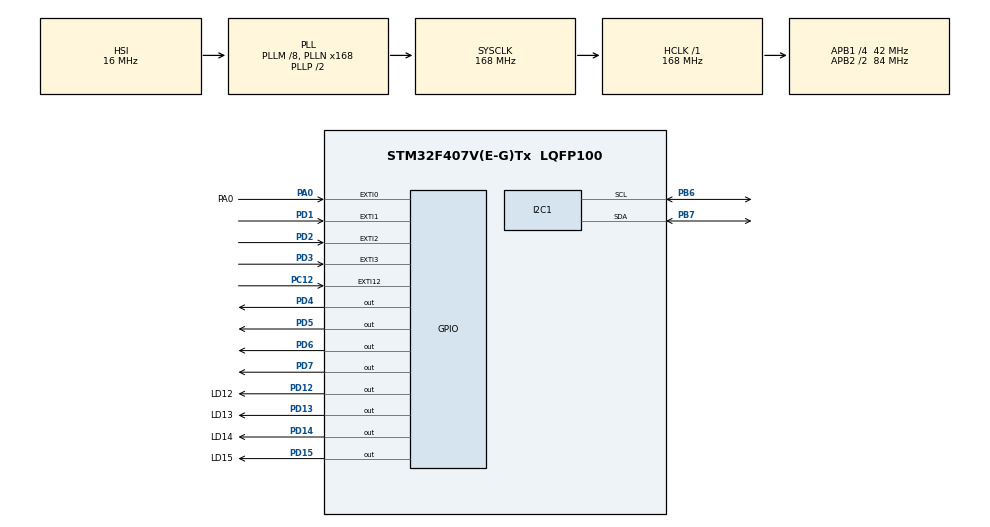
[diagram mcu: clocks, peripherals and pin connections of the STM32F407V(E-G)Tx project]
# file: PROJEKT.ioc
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I2C1.I2C_Mode=I2C_Standard
Mcu.Family=STM32F4
Mcu.Name=STM32F407V(E-G)Tx
Mcu.Package=LQFP100
NVIC.EXTI0_IRQn=true\:0\:0\:false\:false\:true\:true\:true
NVIC.EXTI15_10_IRQn=true\:0\:0\:false\:false\:true\:true\:true
NVIC.EXTI1_IRQn=true\:0\:0\:false\:false\:true\:true\:true
NVIC.EXTI2_IRQn=true\:0\:0\:false\:false\:true\:true\:true
NVIC.EXTI3_IRQn=true\:0\:0\:false\:false\:true\:true\:true
NVIC.PriorityGroup=NVIC_PRIORITYGROUP_4
NVIC.RTC_Alarm_IRQn=true\:0\:0\:false\:false\:true\:true\:true
NVIC.TIM1_UP_TIM10_IRQn=true\:0\:0\:false\:false\:true\:true\:true
PA0-WKUP.GPIO_Label=PA0
PA0-WKUP.Signal=GPXTI0
PB6.Mode=I2C
PB6.Signal=I2C1_SCL
PB7.Mode=I2C
PB7.Signal=I2C1_SDA
PC12.GPIO_PuPd=GPIO_PULLUP
PC12.Signal=GPXTI12
PC14-OSC32_IN.Mode=LSE-External-Oscillator
PC14-OSC32_IN.Signal=RCC_OSC32_IN
PC15-OSC32_OUT.Mode=LSE-External-Oscillator
PC15-OSC32_OUT.Signal=RCC_OSC32_OUT
PD1.GPIO_PuPd=GPIO_PULLUP
PD1.Signal=GPXTI1
PD12.GPIO_Label=LD12
PD12.Signal=GPIO_Output
PD13.GPIO_Label=LD13
PD13.Signal=GPIO_Output
PD14.GPIO_Label=LD14
PD14.Signal=GPIO_Output
PD15.GPIO_Label=LD15
PD15.Signal=GPIO_Output
PD2.GPIO_PuPd=GPIO_PULLUP
PD2.Signal=GPXTI2
PD3.GPIO_PuPd=GPIO_PULLUP
PD3.Signal=GPXTI3
PD4.Signal=GPIO_Output
PD5.Signal=GPIO_Output
PD6.Signal=GPIO_Output
PD7.Signal=GPIO_Output
PH0-OSC_IN.Mode=HSE-External-Oscillator
PH0-OSC_IN.Signal=RCC_OSC_IN
PH1-OSC_OUT.Mode=HSE-External-Oscillator
PH1-OSC_OUT.Signal=RCC_OSC_OUT
ProjectManager.HeapSize=0x200
ProjectManager.StackSize=0x400
ProjectManager.TargetToolchain=STM32CubeIDE
RCC.48MHZClocksFreq_Value=84000000
RCC.AHBFreq_Value=168000000
RCC.APB1CLKDivider=RCC_HCLK_DIV4
RCC.APB1Freq_Value=42000000
RCC.APB1TimFreq_Value=84000000
RCC.APB2CLKDivider=RCC_HCLK_DIV2
RCC.APB2Freq_Value=84000000
RCC.APB2TimFreq_Value=168000000
RCC.CortexFreq_Value=168000000
RCC.HCLKFreq_Value=168000000
RCC.HSE_VALUE=8000000
RCC.HSI_VALUE=16000000
RCC.PLLM=8
RCC.PLLN=168
RCC.SYSCLKFreq_VALUE=168000000
RCC.SYSCLKSource=RCC_SYSCLKSOURCE_PLLCLK
RCC.VCOOutputFreq_Value=336000000
RTC.Alarm=RTC_ALARM_A
RTC.Format=RTC_FORMAT_BIN
RTC.Minutes=50
TIM1.AutoReloadPreload=TIM_AUTORELOAD_PRELOAD_ENABLE
TIM1.Period=999
TIM1.Prescaler=3359
TIM1.RepetitionCounter=1
VP_RTC_VS_RTC_Activate.Mode=RTC_Enabled
VP_RTC_VS_RTC_Alarm_A_Intern.Mode=Alarm A
VP_RTC_VS_RTC_Calendar.Mode=RTC_Calendar
VP_TIM1_VS_ClockSourceINT.Mode=Internal
board=custom

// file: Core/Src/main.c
/* USER CODE END Header */
#include "main.h"
#include "i2c.h"
#include "rtc.h"
#include "tim.h"
#include "gpio.h"

/* USER CODE BEGIN Includes */
#include "lcd1602.h"
#include <stdio.h>
#include <stdbool.h>

/* USER CODE END Includes */

/* USER CODE BEGIN PTD */
RTC_TimeTypeDef sTime;
RTC_DateTypeDef sDate;

struct time clock, alarm, d;
struct lcd_disp disp;

uint8_t refresh_lcd = 1;
uint8_t counter = 0;
uint8_t alarm_start = 1;
bool state = true;

/* USER CODE END PTD */

void SystemClock_Config(void);

/* USER CODE BEGIN 0 */
void set_clock(uint8_t hour, uint8_t minute, uint8_t second, uint8_t day, uint8_t month, uint8_t year){
	RTC_TimeTypeDef sTime = {0};
	RTC_DateTypeDef DateToUpdate = {0};
	sTime.Hours = hour;
	sTime.Minutes = minute;
	sTime.Seconds = second;
	sTime.DayLightSaving = RTC_DAYLIGHTSAVING_NONE;
	sTime.StoreOperation = RTC_STOREOPERATION_RESET;

	if (HAL_RTC_SetTime(&hrtc, &sTime, RTC_FORMAT_BIN) != HAL_OK)
	{
		Error_Handler();
	}

	DateToUpdate.WeekDay = RTC_WEEKDAY_SATURDAY;
	if (month == 1){
		DateToUpdate.Month = RTC_MONTH_JANUARY;
	}
	else if (month == 2){
		DateToUpdate.Month = RTC_MONTH_FEBRUARY;
	}
	else if (month == 3){
		DateToUpdate.Month = RTC_MONTH_MARCH;
	}
	else if (month == 4){
		DateToUpdate.Month = RTC_MONTH_APRIL;
	}
	else if (month == 5){
		DateToUpdate.Month = RTC_MONTH_MAY;
	}
	else if (month == 6){
		DateToUpdate.Month = RTC_MONTH_JUNE;
	}
	else if (month == 7){
		DateToUpdate.Month = RTC_MONTH_JULY;
	}
	else if (month == 8){
		DateToUpdate.Month = RTC_MONTH_AUGUST;
	}
	else if (month == 9){
		DateToUpdate.Month = RTC_MONTH_SEPTEMBER;
	}
	else if (month == 10){
		DateToUpdate.Month = RTC_MONTH_OCTOBER;
	}
	else if (month == 11){
		DateToUpdate.Month = RTC_MONTH_NOVEMBER;
	}
	else if (month == 12){
		DateToUpdate.Month = RTC_MONTH_DECEMBER;
	}

	if (day == 1 || day == 8 || day == 15 || day == 22 || day == 29){

		DateToUpdate.WeekDay = RTC_WEEKDAY_MONDAY;
	}
	else if (day == 2 || day == 9 || day == 16 || day == 23 || day == 30){
		DateToUpdate.WeekDay = RTC_WEEKDAY_TUESDAY;
	}
	else if (day == 3 || day == 10 || day == 17 || day == 24){
		DateToUpdate.WeekDay = RTC_WEEKDAY_WEDNESDAY;
	}
	else if (day == 4 || day == 11 || day == 18 || day == 25){
		DateToUpdate.WeekDay = RTC_WEEKDAY_THURSDAY;
	}
	else if (day == 5 || day == 12 || day == 19 || day == 26){
		DateToUpdate.WeekDay = RTC_WEEKDAY_FRIDAY;
	}
	else if (day == 6 || day == 13 || day == 20 || day == 27){
		DateToUpdate.WeekDay = RTC_WEEKDAY_SATURDAY;
	}
	else if (day == 7 || day == 14 || day == 21 || day == 28){
		DateToUpdate.WeekDay = RTC_WEEKDAY_SUNDAY;
	}

	DateToUpdate.Date = day;
	DateToUpdate.Year = year;

	if (HAL_RTC_SetDate(&hrtc, &DateToUpdate, RTC_FORMAT_BIN) != HAL_OK)
	{
		Error_Handler();
	}

}
void set_alarm(uint8_t hour, uint8_t minute, uint8_t second, uint8_t day){
	RTC_AlarmTypeDef sAlarm = {0};

	sAlarm.AlarmTime.Hours = hour;
	sAlarm.AlarmTime.Minutes = minute;
	sAlarm.AlarmTime.Seconds = second;
	sAlarm.AlarmTime.SubSeconds = 0;
	sAlarm.AlarmTime.DayLightSaving = RTC_DAYLIGHTSAVING_NONE;
	sAlarm.AlarmTime.StoreOperation = RTC_STOREOPERATION_RESET;
	sAlarm.AlarmMask = RTC_ALARMMASK_NONE;
	sAlarm.AlarmSubSecondMask = RTC_ALARMSUBSECONDMASK_ALL;
	sAlarm.AlarmDateWeekDaySel = RTC_ALARMDATEWEEKDAYSEL_DATE;
	sAlarm.AlarmDateWeekDay = day;
	sAlarm.Alarm = RTC_ALARM_A;
	if (HAL_RTC_SetAlarm_IT(&hrtc, &sAlarm, RTC_FORMAT_BIN) != HAL_OK)
	{
		Error_Handler();
	}

}
void get_time(void){
	RTC_TimeTypeDef sTime = {0};
	RTC_DateTypeDef sDate = {0};

	HAL_RTC_GetTime(&hrtc, &sTime, RTC_FORMAT_BIN);
	HAL_RTC_GetDate(&hrtc, &sDate, RTC_FORMAT_BIN);

	sprintf((char*)disp.f_line, "%02d:%02d:%02d", sTime.Hours, sTime.Minutes, sTime.Seconds);
	sprintf((char*)disp.s_line, "%02d:%02d:%d", sDate.Date, sDate.Month, 2020 + sDate.Year);
}
/* USER CODE END 0 */

int main(void)
{

  /* MCU Configuration--------------------------------------------------------*/

  /* Reset of all peripherals, Initializes the Flash interface and the Systick. */
  HAL_Init();

  /* Configure the system clock */
  SystemClock_Config();

  /* Initialize all configured peripherals */
  MX_GPIO_Init();
  MX_RTC_Init();
  MX_TIM1_Init();
  MX_I2C1_Init();
  /* USER CODE BEGIN 2 */
  lcd_init(&disp);
  lcd_clear(&disp);
  disp.addr = (0x27 << 1);
  disp.bl = true;
  HAL_GPIO_WritePin (R1_PORT, R1_PIN, GPIO_PIN_SET);  //Pull the R1 low
  HAL_GPIO_WritePin (R2_PORT, R2_PIN, GPIO_PIN_SET);  // Pull the R2 High
  HAL_GPIO_WritePin (R3_PORT, R3_PIN, GPIO_PIN_SET);  // Pull the R3 High
  HAL_GPIO_WritePin (R4_PORT, R4_PIN, GPIO_PIN_RESET);  // Pull the R4 High
  clock.days = 1;
  clock.months = 1;
  /* USER CODE END 2 */

  /* Infinite loop */

    /* USER CODE BEGIN 3 */
  while (counter < 2){
	  if (refresh_lcd == 1){
		  sprintf((char*)disp.f_line, "%02d:%02d:%02d Godzina", clock.hours, clock.minutes, clock.seconds);
		  sprintf((char*)disp.s_line, "%02d-%02d-%d  Data", clock.days, clock.months, 2020 + clock.years);
		  lcd_display(&disp);
		  refresh_lcd = 0;
	  }
  }

  while (counter < 4){
	  if (refresh_lcd == 1){
		  alarm.hours = clock.hours + d.hours;
		  alarm.minutes = clock.minutes + d.minutes;
		  alarm.seconds = clock.seconds + d.seconds;
		  alarm.days = clock.days + d.days;
		  alarm.months = clock.months + d.months;
		  alarm.years = clock.years + d.years;
		  sprintf((char*)disp.f_line, "%02d:%02d:%02d   Ustaw", alarm.hours, alarm.minutes, alarm.seconds);
		  sprintf((char*)disp.s_line, "%02d-%02d-%d alarm", alarm.days, alarm.months, 2020 + alarm.years);
		  lcd_display(&disp);
		  refresh_lcd = 0;
	  }
  }
  set_clock(clock.hours, clock.minutes, clock.seconds, clock.days, clock.months, clock.years);
  set_alarm(alarm.hours, alarm.minutes, alarm.seconds, alarm.days);
  while(1){
	  switch (alarm_start){
	  case 1:
		  get_time();
		  lcd_display(&disp);
		  HAL_Delay(950);
		  break;
	  case 0:
		  sprintf((char*)disp.f_line, ALERT_1);
		  sprintf((char*)disp.s_line, ALERT_2);
		  lcd_display(&disp);
		  HAL_Delay(500);
		  lcd_clear(&disp);
		  HAL_Delay(500);
		  HAL_GPIO_TogglePin(LD12_GPIO_Port, LD12_Pin);
		  HAL_GPIO_TogglePin(LD13_GPIO_Port, LD13_Pin);
		  HAL_GPIO_TogglePin(LD14_GPIO_Port, LD14_Pin);
		  HAL_GPIO_TogglePin(LD15_GPIO_Port, LD15_Pin);

		  lcd_clear(&disp);
		  if (alarm_start == 1){
			  HAL_GPIO_WritePin(LD12_GPIO_Port, LD12_Pin, 0);
			  HAL_GPIO_WritePin(LD13_GPIO_Port, LD13_Pin, 0);
			  HAL_GPIO_WritePin(LD14_GPIO_Port, LD14_Pin, 0);
			  HAL_GPIO_WritePin(LD15_GPIO_Port, LD15_Pin, 0);
		  break;
		  }
	  }
  }
  /* USER CODE END 3 */
}

void SystemClock_Config(void)
{
  RCC_OscInitTypeDef RCC_OscInitStruct = {0};
  RCC_ClkInitTypeDef RCC_ClkInitStruct = {0};
  RCC_PeriphCLKInitTypeDef PeriphClkInitStruct = {0};

  /** Configure the main internal regulator output voltage
  */
  __HAL_RCC_PWR_CLK_ENABLE();
  __HAL_PWR_VOLTAGESCALING_CONFIG(PWR_REGULATOR_VOLTAGE_SCALE1);
  /** Initializes the RCC Oscillators according to the specified parameters
  * in the RCC_OscInitTypeDef structure.
  */
  RCC_OscInitStruct.OscillatorType = RCC_OSCILLATORTYPE_HSI|RCC_OSCILLATORTYPE_LSI;
  RCC_OscInitStruct.HSIState = RCC_HSI_ON;
  RCC_OscInitStruct.HSICalibrationValue = RCC_HSICALIBRATION_DEFAULT;
  RCC_OscInitStruct.LSIState = RCC_LSI_ON;
  RCC_OscInitStruct.PLL.PLLState = RCC_PLL_ON;
  RCC_OscInitStruct.PLL.PLLSource = RCC_PLLSOURCE_HSI;
  RCC_OscInitStruct.PLL.PLLM = 8;
  RCC_OscInitStruct.PLL.PLLN = 168;
  RCC_OscInitStruct.PLL.PLLP = RCC_PLLP_DIV2;
  RCC_OscInitStruct.PLL.PLLQ = 4;
  if (HAL_RCC_OscConfig(&RCC_OscInitStruct) != HAL_OK)
  {
    Error_Handler();
  }
  /** Initializes the CPU, AHB and APB buses clocks
  */
  RCC_ClkInitStruct.ClockType = RCC_CLOCKTYPE_HCLK|RCC_CLOCKTYPE_SYSCLK
                              |RCC_CLOCKTYPE_PCLK1|RCC_CLOCKTYPE_PCLK2;
  RCC_ClkInitStruct.SYSCLKSource = RCC_SYSCLKSOURCE_PLLCLK;
  RCC_ClkInitStruct.AHBCLKDivider = RCC_SYSCLK_DIV1;
  RCC_ClkInitStruct.APB1CLKDivider = RCC_HCLK_DIV4;
  RCC_ClkInitStruct.APB2CLKDivider = RCC_HCLK_DIV2;

  if (HAL_RCC_ClockConfig(&RCC_ClkInitStruct, FLASH_LATENCY_5) != HAL_OK)
  {
    Error_Handler();
  }
  PeriphClkInitStruct.PeriphClockSelection = RCC_PERIPHCLK_RTC;
  PeriphClkInitStruct.RTCClockSelection = RCC_RTCCLKSOURCE_LSI;
  if (HAL_RCCEx_PeriphCLKConfig(&PeriphClkInitStruct) != HAL_OK)
  {
    Error_Handler();
  }
}

/* USER CODE BEGIN 4 */
void HAL_RTC_AlarmAEventCallback(RTC_HandleTypeDef *hrtc){
	alarm_start = 0;

}
void HAL_GPIO_EXTI_Callback(uint16_t GPIO_Pin) {

	if (GPIO_Pin == PA0_Pin){
		alarm_start = 1;
	}

	if (GPIO_Pin == C4_PIN){
		HAL_TIM_Base_Start_IT(&htim1);
		state = false;

	}

	if (GPIO_Pin == C3_PIN){
		HAL_TIM_Base_Start_IT(&htim1);
		state = false;

	}

	if (GPIO_Pin == C2_PIN){
		HAL_TIM_Base_Start_IT(&htim1);
		state = false;

	}

	if (GPIO_Pin == C1_PIN){
		HAL_TIM_Base_Start_IT(&htim1);
		state = false;
	}
}
void HAL_TIM_PeriodElapsedCallback(TIM_HandleTypeDef *htim){

	UNUSED(htim);
	if(HAL_GPIO_ReadPin(C4_PORT, C4_PIN) == GPIO_PIN_RESET){
		if (counter == 0 || counter == 1){
			if (HAL_GPIO_ReadPin(R4_PORT, R4_PIN) == GPIO_PIN_RESET) {
				if (clock.hours >= 0 && clock.hours < 23) ++clock.hours;
				else clock.hours = 0;
			}
			if (HAL_GPIO_ReadPin(R3_PORT, R3_PIN) == GPIO_PIN_RESET) {
				if (clock.days >= 0 && clock.days < 31) ++clock.days;
				else clock.days = 0;
			}
		}
		else if (counter == 2 || counter == 3){
			if (HAL_GPIO_ReadPin(R4_PORT, R4_PIN) == GPIO_PIN_RESET){
				if (alarm.hours >= 0 && alarm.hours < 23) ++d.hours;
				else d.hours = 0;
			}
			if (HAL_GPIO_ReadPin(R3_PORT, R3_PIN) == GPIO_PIN_RESET){
				if (alarm.days >= 0 && alarm.days < 31) ++d.days;
				else d.days = 0;
			}
		}
		refresh_lcd = 1;
		state = true;
		HAL_TIM_Base_Stop_IT(&htim1);
	}

	if(HAL_GPIO_ReadPin(C3_PORT, C3_PIN) == GPIO_PIN_RESET){
		if (counter == 0 || counter == 1){
			if (HAL_GPIO_ReadPin(R4_PORT, R4_PIN) == GPIO_PIN_RESET){
				if (clock.minutes >= 0 && clock.minutes < 59) ++clock.minutes;
				else clock.minutes = 0;
			}
			if (HAL_GPIO_ReadPin(R3_PORT, R3_PIN) == GPIO_PIN_RESET){
				if (clock.months >= 0 && clock.months < 12) ++clock.months;
				else clock.months = 0;			}
		}
		else if (counter == 2 || counter == 3){
			if (HAL_GPIO_ReadPin(R4_PORT, R4_PIN) == GPIO_PIN_RESET){
				if (alarm.minutes >= 0 && alarm.minutes < 59) ++d.minutes;
				else d.minutes = 0;
			}
			if (HAL_GPIO_ReadPin(R3_PORT, R3_PIN) == GPIO_PIN_RESET){
				if (alarm.months >= 0 && alarm.months < 12) ++d.months;
				else d.months = 0;
			}
		}
		refresh_lcd = 1;
		state = true;
		HAL_TIM_Base_Stop_IT(&htim1);
	}

	if (HAL_GPIO_ReadPin(C2_PORT, C2_PIN) == GPIO_PIN_RESET){
		if (counter == 0 || counter == 1){
			if (HAL_GPIO_ReadPin(R4_PORT, R4_PIN) == GPIO_PIN_RESET){
				if (clock.seconds >= 0 && clock.seconds < 59) ++clock.seconds;
				else clock.seconds = 0;
			}
			if (HAL_GPIO_ReadPin(R3_PORT, R3_PIN) == GPIO_PIN_RESET){
				++clock.years;
			}
		}
		else if (counter == 2 || counter == 3){
			if (HAL_GPIO_ReadPin(R4_PORT, R4_PIN) == GPIO_PIN_RESET){
				if (alarm.seconds >= 0 && alarm.seconds < 59) ++d.seconds;
				else d.seconds = 0;
			}
			if (HAL_GPIO_ReadPin(R3_PORT, R3_PIN) == GPIO_PIN_RESET) {
				++d.years;
			}
		}
		refresh_lcd = 1;
		state = true;
		HAL_TIM_Base_Stop_IT(&htim1);
	}
	if (HAL_GPIO_ReadPin(C1_PORT, C1_PIN) == GPIO_PIN_RESET){
		HAL_GPIO_TogglePin(R4_PORT, R4_PIN);
		HAL_GPIO_TogglePin(R3_PORT, R3_PIN);
		counter++;
		state = true;
		HAL_TIM_Base_Stop_IT(&htim1);
	}
}
/* USER CODE END 4 */

void Error_Handler(void)
{
  __disable_irq();
  while (1)
  {
  }
}

/************************ (C) COPYRIGHT STMicroelectronics *****END OF FILE****/
